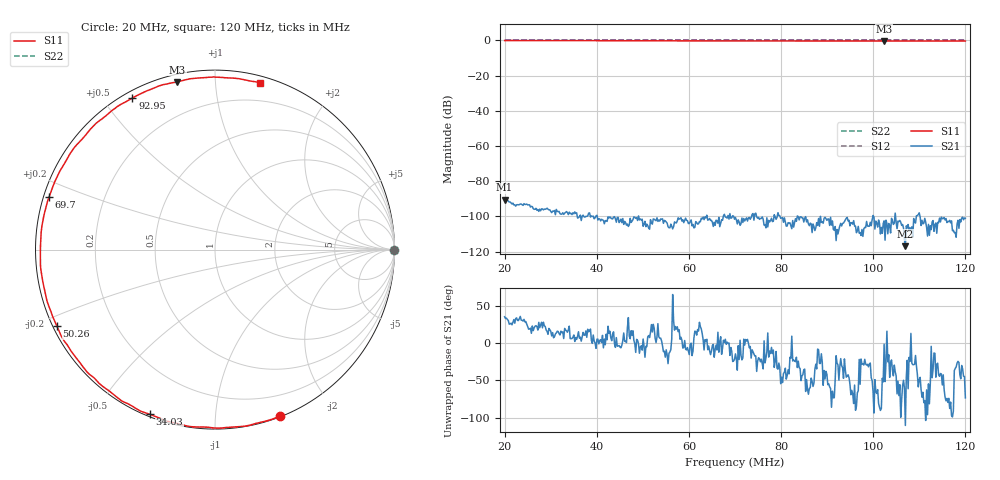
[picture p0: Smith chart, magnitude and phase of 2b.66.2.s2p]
! Anritsu VNA Master:  Model: MS2036C/10/77
! SN:  1601066
! /card0/usr/18may27.balun/252b.66.2.s2p
! Existing Calibration Information:
! TYPE:  Current Settings,  Active Cal Settings
! TIME:  05/27/2018 12:31:09 PM,  05/27/2018 12:21:44 PM
! INTERNAL TEMP:  53.8 C,  53.3 C
! # POINTS:  500,  500
! START FREQ:  20.000 MHz,  20.000 MHz
! STOP FREQ:  120.000 MHz,  120.000 MHz
! SOURCE POWER:  High,  High
! IFBW:  50 Hz,  50 Hz
! AVG FACTOR:  1 ,  1
! REF PLANE 1:  0 mm,  0 mm
! REF PLANE 2:  0 mm,  0 mm
! CAL TYPE:  Full S11,  Full S11
! CAL METHOD:  SOLT,  SOLT
! CAL LINE TYPE:  Coax,  Coax
! DUT PORT 1:  K-Conn(M),  K-Conn(M)
! DUT PORT 2:  K-Conn(M),  K-Conn(M)
! CAL STATUS:  OK: Accuracy High,  --
# GHZ S DB R 50.0
! FREQ.GHZ  S11DB  S11A  S21DB  S21A  S12DB  S12A  S22DB  S22A
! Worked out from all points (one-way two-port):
!   500 points, 20 MHz to 120 MHz, reference 50 ohm
!   highest |S21| = -90.45 dB at 20 MHz (marker M1); lowest = -116.9 dB at 107 MHz (marker M2)
!   lowest |S11| = -0.4 dB at 102.4 MHz (marker M3), VSWR 46.32, Z = 1.77 + j40 ohm
!   |S11| at or under -10 dB: nowhere
!   |S22| runs from 0.0 to 0.0 dB; largest |S21 - S12| = 1
!   S11 on the Smith chart (normalised r, x): 20 MHz: 0.01, -1.46; 34.03 MHz: 0.01, -0.68; 50.26 MHz: 0.01, -0.23; 69.7 MHz: 0.02, +0.15; 92.95 MHz: 0.03, +0.59; 120 MHz: 0.05, +1.31
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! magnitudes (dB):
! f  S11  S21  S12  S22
! 20 MHz  0.0  -90.4  0.0  0.0
! 23.61 MHz  0.0  -93.0  0.0  0.0
! 27.82 MHz  -0.1  -96.8  0.0  0.0
! 29.62 MHz  0.0  -96.3  0.0  0.0
! 34.03 MHz  -0.1  -97.6  0.0  0.0
! 35.03 MHz  -0.1  -98.5  0.0  0.0
! 36.83 MHz  -0.1  -99.8  0.0  0.0
! 50.26 MHz  -0.2  -104.5  0.0  0.0
! 53.47 MHz  -0.2  -102.1  0.0  0.0
! 69.7 MHz  -0.3  -99.9  0.0  0.0
! 70.1 MHz  -0.3  -100.6  0.0  0.0
! 79.12 MHz  -0.3  -100.6  0.0  0.0
! 81.32 MHz  -0.3  -105.5  0.0  0.0
! 84.73 MHz  -0.3  -100.9  0.0  0.0
! 86.73 MHz  -0.3  -109.2  0.0  0.0
! 89.94 MHz  -0.3  -102.2  0.0  0.0
! 92.95 MHz  -0.3  -104.0  0.0  0.0
! 99.16 MHz  -0.3  -105.6  0.0  0.0
! 102.4 MHz  -0.4  -102.5  0.0  0.0
! 103.4 MHz  -0.4  -104.0  0.0  0.0
! 107 MHz  -0.4  -116.9  0.0  0.0
! 120 MHz  -0.3  -101.1  0.0  0.0
